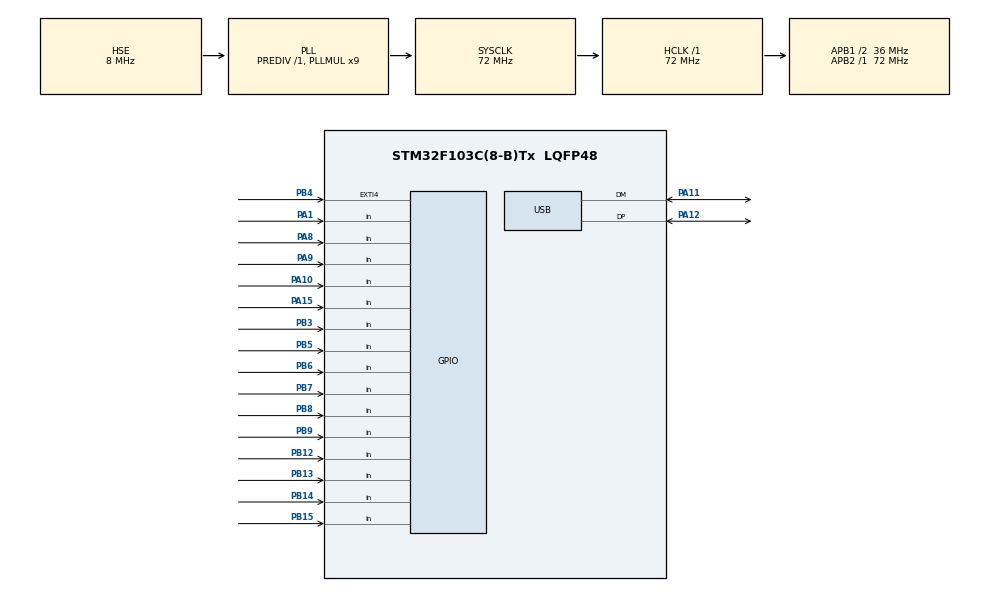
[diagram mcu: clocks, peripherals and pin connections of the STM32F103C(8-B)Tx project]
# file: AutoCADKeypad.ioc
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Mcu.Family=STM32F1
Mcu.Name=STM32F103C(8-B)Tx
Mcu.Package=LQFP48
NVIC.PriorityGroup=NVIC_PRIORITYGROUP_4
NVIC.USB_LP_CAN1_RX0_IRQn=true\:0\:0\:false\:false\:true\:false\:true\:true
PA1.GPIO_PuPd=GPIO_PULLUP
PA1.Signal=GPIO_Input
PA10.GPIO_PuPd=GPIO_PULLUP
PA10.Signal=GPIO_Input
PA11.Mode=Device
PA11.Signal=USB_DM
PA12.Mode=Device
PA12.Signal=USB_DP
PA13.Mode=Serial_Wire
PA13.Signal=SYS_JTMS-SWDIO
PA14.Mode=Serial_Wire
PA14.Signal=SYS_JTCK-SWCLK
PA15.Signal=GPIO_Input
PA8.GPIO_PuPd=GPIO_PULLUP
PA8.Signal=GPIO_Input
PA9.GPIO_PuPd=GPIO_PULLUP
PA9.Signal=GPIO_Input
PB12.GPIO_PuPd=GPIO_PULLUP
PB12.Signal=GPIO_Input
PB13.GPIO_PuPd=GPIO_PULLUP
PB13.Signal=GPIO_Input
PB14.GPIO_PuPd=GPIO_PULLUP
PB14.Signal=GPIO_Input
PB15.GPIO_PuPd=GPIO_PULLUP
PB15.Signal=GPIO_Input
PB3.GPIO_PuPd=GPIO_PULLUP
PB3.Signal=GPIO_Input
PB4.GPIO_PuPd=GPIO_PULLUP
PB4.Signal=GPXTI4
PB5.GPIO_PuPd=GPIO_PULLUP
PB5.Signal=GPIO_Input
PB6.GPIO_PuPd=GPIO_PULLUP
PB6.Signal=GPIO_Input
PB7.GPIO_PuPd=GPIO_PULLUP
PB7.Signal=GPIO_Input
PB8.GPIO_PuPd=GPIO_PULLUP
PB8.Signal=GPIO_Input
PB9.GPIO_PuPd=GPIO_PULLUP
PB9.Signal=GPIO_Input
PD0-OSC_IN.Mode=HSE-External-Oscillator
PD0-OSC_IN.Signal=RCC_OSC_IN
PD1-OSC_OUT.Mode=HSE-External-Oscillator
PD1-OSC_OUT.Signal=RCC_OSC_OUT
ProjectManager.HeapSize=0x200
ProjectManager.StackSize=0x400
ProjectManager.TargetToolchain=STM32CubeIDE
RCC.AHBFreq_Value=72000000
RCC.APB1CLKDivider=RCC_HCLK_DIV2
RCC.APB1Freq_Value=36000000
RCC.APB1TimFreq_Value=72000000
RCC.APB2Freq_Value=72000000
RCC.APB2TimFreq_Value=72000000
RCC.HCLKFreq_Value=72000000
RCC.PLLMUL=RCC_PLL_MUL9
RCC.SYSCLKFreq_VALUE=72000000
RCC.SYSCLKSource=RCC_SYSCLKSOURCE_PLLCLK
RCC.USBFreq_Value=48000000
RCC.USBPrescaler=RCC_USBCLKSOURCE_PLL_DIV1_5
USB_DEVICE.CLASS_NAME_FS=HID
USB_DEVICE.MANUFACTURER_STRING=Ochame Kinou
USB_DEVICE.VirtualMode=Hid
USB_DEVICE.VirtualModeFS=Hid_FS
VP_USB_DEVICE_VS_USB_DEVICE_HID_FS.Mode=HID_FS
board=custom

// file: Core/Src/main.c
/* USER CODE BEGIN Header */
/**
  ******************************************************************************
  * @file           : main.c
  * @brief          : Main program body
  ******************************************************************************
  * @attention
  *
  * Copyright (c) 2025 STMicroelectronics.
  * All rights reserved.
  *
  * This software is licensed under terms that can be found in the LICENSE file
  * in the root directory of this software component.
  * If no LICENSE file comes with this software, it is provided AS-IS.
  *
  ******************************************************************************
  */
/* USER CODE END Header */
#include "main.h"
#include "usb_device.h"

/* USER CODE BEGIN Includes */
#include "usbd_hid.h"
/* USER CODE END Includes */

void SystemClock_Config(void);
static void MX_GPIO_Init(void);

/* USER CODE BEGIN 0 */
extern USBD_HandleTypeDef hUsbDeviceFS;
typedef struct{
	uint8_t reportID;
	uint8_t modifier;
	uint8_t reserved;
	uint8_t key1;
	uint8_t key2;
	uint8_t key3;
	uint8_t key4;
	uint8_t key5;
	uint8_t key6;

} keyPress;

typedef struct{
	uint8_t reportID;
	uint8_t mediaKey1;
}mediaKeyPress;

keyPress keyPad = {0x01, 0, 0, 0, 0, 0, 0, 0, 0};
mediaKeyPress mediaKeyPad = {0x02, 0};

void pressKey(uint8_t k1){
	keyPad.modifier = 0;
	    keyPad.key1 = k1;
	    USBD_HID_SendReport(&hUsbDeviceFS, (uint8_t*)&keyPad, sizeof(keyPad));
	    HAL_Delay(100);
	    keyPad.modifier = 0;
	        keyPad.key1 = 0;

	        USBD_HID_SendReport(&hUsbDeviceFS, (uint8_t*)&keyPad, sizeof(keyPad));
	        HAL_Delay(100);
};

void mediaKey(uint16_t m1){
	mediaKeyPad.mediaKey1 = m1;
	USBD_HID_SendReport(&hUsbDeviceFS, (uint8_t*)&mediaKeyPad, sizeof(mediaKeyPad));
		    HAL_Delay(100);
		        mediaKeyPad.mediaKey1 = 0;

		        USBD_HID_SendReport(&hUsbDeviceFS, (uint8_t*)&mediaKeyPad, sizeof(mediaKeyPad));
		        HAL_Delay(100);

};

void releaseAll(){
    keyPad.modifier = 0;
    keyPad.key1 = 0;
    keyPad.key2 = 0;
    keyPad.key3 = 0;
    keyPad.key4 = 0;
    keyPad.key5 = 0;
    keyPad.key6 = 0;
    USBD_HID_SendReport(&hUsbDeviceFS, (uint8_t*)&keyPad, sizeof(keyPad));
    HAL_Delay(5);
}
/* USER CODE END 0 */

int main(void)
{

  /* MCU Configuration--------------------------------------------------------*/

  /* Reset of all peripherals, Initializes the Flash interface and the Systick. */
  HAL_Init();

  /* Configure the system clock */
  SystemClock_Config();

  /* Initialize all configured peripherals */
  MX_GPIO_Init();
  MX_USB_DEVICE_Init();
  /* USER CODE BEGIN 2 */

  int lastButtonState[16] = {0};
  /* USER CODE END 2 */

  /* Infinite loop */
  while (1)
  {

    /* USER CODE BEGIN 3 */
	  int prevSong = HAL_GPIO_ReadPin(GPIOB, GPIO_PIN_3);
	  int dimdit = HAL_GPIO_ReadPin(GPIOB, GPIO_PIN_4);
	  int f8 = HAL_GPIO_ReadPin(GPIOB, GPIO_PIN_5);
	  int dimAligned = HAL_GPIO_ReadPin(GPIOB, GPIO_PIN_6);
	  int nextSong = HAL_GPIO_ReadPin(GPIOB, GPIO_PIN_7);
	  int f5 = HAL_GPIO_ReadPin(GPIOB, GPIO_PIN_8);
	  int undo = HAL_GPIO_ReadPin(GPIOB, GPIO_PIN_9);
	  int enter = HAL_GPIO_ReadPin(GPIOB, GPIO_PIN_12);
	  int isoCircle = HAL_GPIO_ReadPin(GPIOB, GPIO_PIN_13);
	  int circle = HAL_GPIO_ReadPin(GPIOB, GPIO_PIN_14);
	  int line= HAL_GPIO_ReadPin(GPIOB, GPIO_PIN_15);
	  int esc = HAL_GPIO_ReadPin(GPIOA, GPIO_PIN_8);
	  int mirror = HAL_GPIO_ReadPin(GPIOA, GPIO_PIN_9);
	  int copy = HAL_GPIO_ReadPin(GPIOA, GPIO_PIN_10);
	  int trim = HAL_GPIO_ReadPin(GPIOA, GPIO_PIN_1);
	  int move = HAL_GPIO_ReadPin(GPIOA, GPIO_PIN_15);
	  if (isoCircle == 0 && lastButtonState[0] == 1){
	  pressKey(0x08);
	  pressKey(0x0F);
	  pressKey(0x28);
	  pressKey(0x0C);
	  pressKey(0x28);
	  }
	  else if(nextSong == 0 && lastButtonState[1] == 1){
		  mediaKey(0xCD);
	  }
	  else if(prevSong == 0 && lastButtonState[2] == 1){
		  mediaKey(0xCE);
	  	  }
	  else if(dimdit == 0 && lastButtonState[3] == 1){
		pressKey(0x07);
  		pressKey(0x0C);
	   	pressKey(0x10);
	   	pressKey(0x07);
	  	pressKey(0x0C);
	  	pressKey(0X17);
	  	pressKey(0x28);
	  	  	  }
	  else if(f8 == 0 && lastButtonState[4] == 1){
		  pressKey(0x41);
		  pressKey(0x28);
	  	  	  }
	  else if(dimAligned == 0 && lastButtonState[5] == 1){
		  pressKey(0x07);
		  pressKey(0x0C);
		  pressKey(0x10);
		  pressKey(0x04);
		  pressKey(0x0F);
		  pressKey(0x0C);
		  pressKey(0x28);
	  	  	  }
	  else if(f5 == 0 && lastButtonState[6] == 1){
		  pressKey(0x3E);
	  	  	  }
	  else if(undo == 0 && lastButtonState[7] == 1){
		  pressKey(0x18);
		  pressKey(0x11);
		  pressKey(0x07);
		  pressKey(0x28);
		  pressKey(0x1E);
		  pressKey(0x28);
	  	  	  }
	  else if(enter == 0 && lastButtonState[8] == 1){
	  	  pressKey(0x28);
	  	  	  }
	  else if(circle == 0 && lastButtonState[9] == 1){
		  pressKey(0x06);
		  pressKey(0x0C);
		  pressKey(0x15);
		  pressKey(0x28);
	  	  	  }
	  else if(line == 0 && lastButtonState[10] == 1){
		  pressKey(0x0F);
		  pressKey(0x28);
	  	  	  }
	  else if(esc == 0 && lastButtonState[11] == 1){
		  pressKey(0x29);
	  	  	  }
	  else if(mirror == 0 && lastButtonState[12] == 1){
		  pressKey(0x10);
		  pressKey(0x0C);
		  pressKey(0x15);
		  pressKey(0x28);
	  	  	  }
	  else if(copy == 0 && lastButtonState[13] == 1){
		  pressKey(0x06);
		  pressKey(0x12);
		  pressKey(0x13);
		  pressKey(0x28);
	  }
	  else if(trim == 0 && lastButtonState[14] == 1){
		  pressKey(0x17);
		  pressKey(0x15);
		  pressKey(0x28);
	  	  	  }
	  else if(move == 0 && lastButtonState[15] == 1){
		  pressKey(0x10);
		  pressKey(0x12);
		  pressKey(0x19);
		  pressKey(0x08);
		  pressKey(0x28);
	  	  	  }

	  lastButtonState[0] = isoCircle;
	  lastButtonState[1] = nextSong;
	  lastButtonState[2] = prevSong;
	  lastButtonState[3] = dimdit;
	  lastButtonState[4] = f8;
	  lastButtonState[5] = dimAligned;
	  lastButtonState[6] = f5;
	  lastButtonState[7] = undo;
	  lastButtonState[8] = enter;
  	  lastButtonState[9] = circle;
	  lastButtonState[10] = line;
  	  lastButtonState[11] = esc;
  	  lastButtonState[12] = mirror;
  	  lastButtonState[13] = copy;
  	  lastButtonState[14] = trim;
  	  lastButtonState[15] = move;
  }
  /* USER CODE END 3 */
}

void SystemClock_Config(void)
{
  RCC_OscInitTypeDef RCC_OscInitStruct = {0};
  RCC_ClkInitTypeDef RCC_ClkInitStruct = {0};
  RCC_PeriphCLKInitTypeDef PeriphClkInit = {0};

  /** Initializes the RCC Oscillators according to the specified parameters
  * in the RCC_OscInitTypeDef structure.
  */
  RCC_OscInitStruct.OscillatorType = RCC_OSCILLATORTYPE_HSE;
  RCC_OscInitStruct.HSEState = RCC_HSE_ON;
  RCC_OscInitStruct.HSEPredivValue = RCC_HSE_PREDIV_DIV1;
  RCC_OscInitStruct.HSIState = RCC_HSI_ON;
  RCC_OscInitStruct.PLL.PLLState = RCC_PLL_ON;
  RCC_OscInitStruct.PLL.PLLSource = RCC_PLLSOURCE_HSE;
  RCC_OscInitStruct.PLL.PLLMUL = RCC_PLL_MUL9;
  if (HAL_RCC_OscConfig(&RCC_OscInitStruct) != HAL_OK)
  {
    Error_Handler();
  }

  /** Initializes the CPU, AHB and APB buses clocks
  */
  RCC_ClkInitStruct.ClockType = RCC_CLOCKTYPE_HCLK|RCC_CLOCKTYPE_SYSCLK
                              |RCC_CLOCKTYPE_PCLK1|RCC_CLOCKTYPE_PCLK2;
  RCC_ClkInitStruct.SYSCLKSource = RCC_SYSCLKSOURCE_PLLCLK;
  RCC_ClkInitStruct.AHBCLKDivider = RCC_SYSCLK_DIV1;
  RCC_ClkInitStruct.APB1CLKDivider = RCC_HCLK_DIV2;
  RCC_ClkInitStruct.APB2CLKDivider = RCC_HCLK_DIV1;

  if (HAL_RCC_ClockConfig(&RCC_ClkInitStruct, FLASH_LATENCY_2) != HAL_OK)
  {
    Error_Handler();
  }
  PeriphClkInit.PeriphClockSelection = RCC_PERIPHCLK_USB;
  PeriphClkInit.UsbClockSelection = RCC_USBCLKSOURCE_PLL_DIV1_5;
  if (HAL_RCCEx_PeriphCLKConfig(&PeriphClkInit) != HAL_OK)
  {
    Error_Handler();
  }
}

static void MX_GPIO_Init(void)
{
  GPIO_InitTypeDef GPIO_InitStruct = {0};

  /* GPIO Ports Clock Enable */
  __HAL_RCC_GPIOD_CLK_ENABLE();
  __HAL_RCC_GPIOA_CLK_ENABLE();
  __HAL_RCC_GPIOB_CLK_ENABLE();

  /*Configure GPIO pins : PA1 PA8 PA9 PA10 */
  GPIO_InitStruct.Pin = GPIO_PIN_1|GPIO_PIN_8|GPIO_PIN_9|GPIO_PIN_10;
  GPIO_InitStruct.Mode = GPIO_MODE_INPUT;
  GPIO_InitStruct.Pull = GPIO_PULLUP;
  HAL_GPIO_Init(GPIOA, &GPIO_InitStruct);

  /*Configure GPIO pins : PB12 PB13 PB14 PB15
                           PB3 PB5 PB6 PB7
                           PB8 PB9 */
  GPIO_InitStruct.Pin = GPIO_PIN_12|GPIO_PIN_13|GPIO_PIN_14|GPIO_PIN_15
                          |GPIO_PIN_3|GPIO_PIN_5|GPIO_PIN_6|GPIO_PIN_7
                          |GPIO_PIN_8|GPIO_PIN_9;
  GPIO_InitStruct.Mode = GPIO_MODE_INPUT;
  GPIO_InitStruct.Pull = GPIO_PULLUP;
  HAL_GPIO_Init(GPIOB, &GPIO_InitStruct);

  /*Configure GPIO pin : PA15 */
  GPIO_InitStruct.Pin = GPIO_PIN_15;
  GPIO_InitStruct.Mode = GPIO_MODE_INPUT;
  GPIO_InitStruct.Pull = GPIO_NOPULL;
  HAL_GPIO_Init(GPIOA, &GPIO_InitStruct);

  /*Configure GPIO pin : PB4 */
  GPIO_InitStruct.Pin = GPIO_PIN_4;
  GPIO_InitStruct.Mode = GPIO_MODE_IT_RISING;
  GPIO_InitStruct.Pull = GPIO_PULLUP;
  HAL_GPIO_Init(GPIOB, &GPIO_InitStruct);

}

void Error_Handler(void)
{
  __disable_irq();
  while (1)
  {
  }
}
